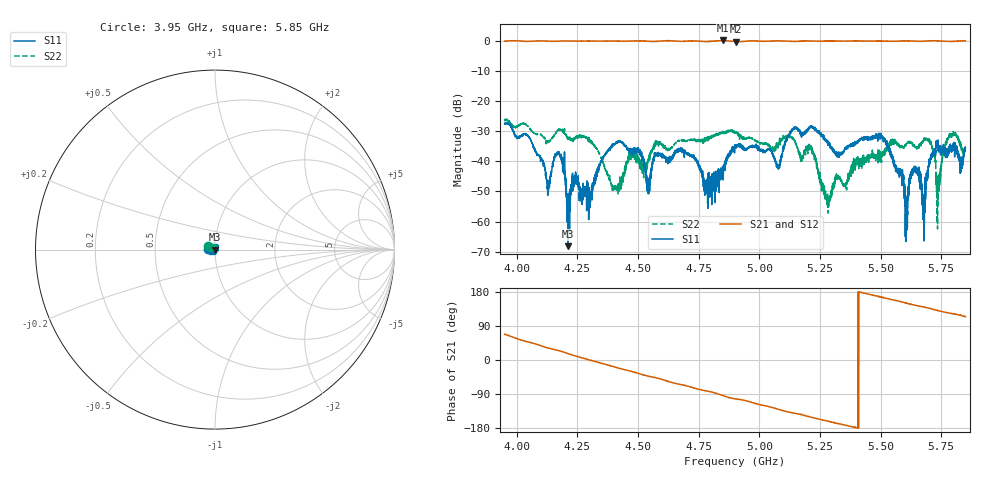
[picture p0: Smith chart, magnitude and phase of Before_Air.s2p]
# GHZ S RI R 50.000000000000
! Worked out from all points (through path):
!   4501 points, 3.95 GHz to 5.85 GHz, reference 50 ohm
!   highest |S21| = 0.05 dB at 4.851 GHz (marker M1); lowest = -0.4 dB at 4.904 GHz (marker M2)
!   group delay of S21, straight-line fit = 452 ps
!   lowest |S11| = -68.1 dB at 4.211 GHz (marker M3), VSWR 1.00, Z = 50 - j0.0284 ohm
!   |S11| at or under -10 dB: start of sweep to end of sweep
!   |S22| runs from -62.4 to -26.0 dB; largest |S21 - S12| = 0.047
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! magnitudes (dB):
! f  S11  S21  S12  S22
! 3.95 GHz  -27.6  -0.2  -0.2  -26.7
! 4.129 GHz  -50.6  -0.2  -0.2  -33.6
! 4.176 GHz  -37.7  -0.2  -0.2  -29.6
! 4.211 GHz  -68.1  -0.1  -0.1  -32.4
! 4.267 GHz  -51.4  -0.1  -0.2  -32.2
! 4.406 GHz  -34.1  -0.1  -0.2  -48.9
! 4.542 GHz  -49.7  -0.2  -0.2  -39.1
! 4.584 GHz  -37.6  -0.2  -0.3  -33.5
! 4.851 GHz  -46.2  0.1  0.0  -30.3
! 4.9 GHz  -35.0  -0.3  -0.2  -30.5
! 4.904 GHz  -35.7  -0.4  -0.2  -30.2
! 5.079 GHz  -42.1  -0.1  -0.1  -33.9
! 5.217 GHz  -28.9  -0.1  -0.1  -37.0
! 5.285 GHz  -33.4  -0.1  -0.2  -53.3
! 5.534 GHz  -36.0  -0.2  -0.1  -34.4
! 5.608 GHz  -56.0  -0.1  -0.1  -34.1
! 5.64 GHz  -43.0  -0.2  -0.2  -35.2
! 5.679 GHz  -55.0  -0.2  -0.2  -32.3
! 5.701 GHz  -41.6  -0.1  -0.1  -32.8
! 5.738 GHz  -33.5  -0.1  -0.1  -54.4
! 5.783 GHz  -35.0  -0.2  -0.3  -31.6
! 5.85 GHz  -35.3  -0.1  0.0  -36.2
